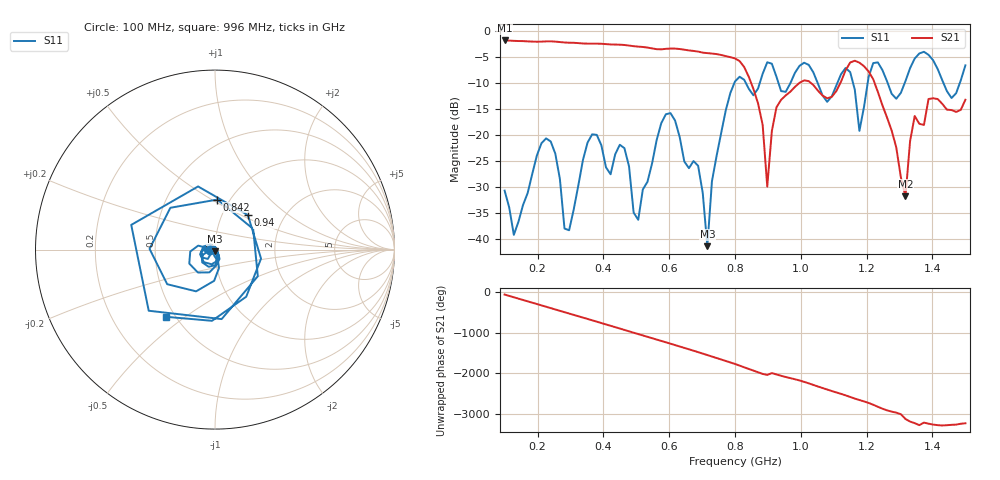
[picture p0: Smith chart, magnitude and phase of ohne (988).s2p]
! NanoVNA-App
! Date: 2025-09-25 14:28:29
! Start: 100MHz Stop: 1,5GHz Points: 101
! S-Parameter data: F S11 S21 S12 S22
# Hz S RI R 50
!  Frequency  S11_Real  S11_Imag  S21_Real  S21_Imag  S12_Real  S12_Imag  S22_Real  S22_Imag
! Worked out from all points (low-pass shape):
!   101 points, 100 MHz to 1.5 GHz, reference 50 ohm
!   highest |S21| = -1.79 dB at 100 MHz (marker M1); lowest = -31.7 dB at 1.318 GHz (marker M2)
!   |S21| within 3 dB of the highest: start of sweep to 771.7 MHz
!   lowest |S11| = -41.3 dB at 716 MHz (marker M3), VSWR 1.02, Z = 49.8 - j0.841 ohm
!   |S11| at or under -10 dB: start of sweep to 797.9 MHz; 833.2 MHz to 875.1 MHz (41.85 MHz wide, 4.9 % of centre); 1.051 GHz to 1.111 GHz (59.34 MHz wide, 5.49 % of centre) (the widest 3 of 7)
!   S12 and S22 are empty: the file has one direction only
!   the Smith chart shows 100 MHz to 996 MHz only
!   S11 on the Smith chart (normalised r, x): 100 MHz: 0.94, -0.01; 842 MHz: 0.88, +0.53; 940 MHz: 1.32, +0.55; 996 MHz: 0.44, -0.42
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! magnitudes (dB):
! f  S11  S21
! 100 MHz  -30.6  -1.8
! 128 MHz  -39.1  -1.9
! 226 MHz  -20.6  -2.0
! 296 MHz  -38.2  -2.2
! 338 MHz  -24.7  -2.4
! 464 MHz  -22.5  -2.7
! 506 MHz  -36.2  -3.0
! 576 MHz  -17.7  -3.5
! 688 MHz  -25.9  -3.9
! 716 MHz  -41.3  -4.2
! 800 MHz  -9.7  -5.2
! 842 MHz  -11.1  -8.8
! 898 MHz  -6.0  -29.8
! 940 MHz  -11.5  -13.2
! 996 MHz  -6.7  -9.9
! 1.038 GHz  -7.9  -10.4
! 1.178 GHz  -19.2  -6.1
! 1.22 GHz  -6.1  -9.3
! 1.276 GHz  -12.0  -19.1
! 1.318 GHz  -9.6  -31.7
! 1.346 GHz  -5.3  -16.3
! 1.5 GHz  -6.6  -13.2
